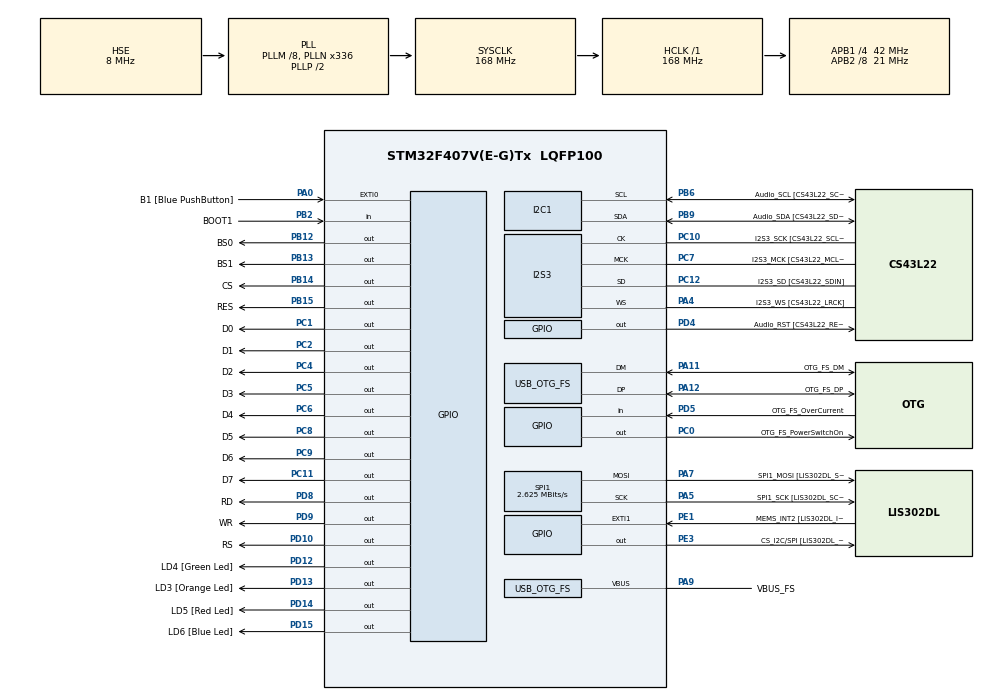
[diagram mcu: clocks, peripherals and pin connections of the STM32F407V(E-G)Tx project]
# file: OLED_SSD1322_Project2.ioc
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I2S3.AudioFreq-Half_Duplex_Master=I2S_AUDIOFREQ_96K
I2S3.ErrorAudioFreq=-2.34 %
I2S3.ErrorAudioFreq-Half_Duplex_Master=0.8 %
I2S3.FullDuplexMode=I2S_FULLDUPLEXMODE_DISABLE
I2S3.Instance=SPI$Index
I2S3.RealAudioFreq=93.75 KHz
I2S3.RealAudioFreq-Half_Duplex_Master=96.774 KHz
I2S3.VirtualMode=I2S_MODE_MASTER
Mcu.Family=STM32F4
Mcu.Name=STM32F407V(E-G)Tx
Mcu.Package=LQFP100
NVIC.OTG_FS_IRQn=true\:0\:0\:false\:false\:true\:true\:true\:true
NVIC.PriorityGroup=NVIC_PRIORITYGROUP_0
PA0-WKUP.GPIO_Label=B1 [Blue PushButton]
PA0-WKUP.GPIO_ModeDefaultEXTI=GPIO_MODE_EVT_RISING
PA0-WKUP.GPIO_PuPd=GPIO_NOPULL
PA0-WKUP.Signal=GPXTI0
PA10.GPIO_Label=OTG_FS_ID
PA10.GPIO_Mode=GPIO_MODE_AF_PP
PA10.GPIO_PuPd=GPIO_NOPULL
PA10.GPIO_Speed=GPIO_SPEED_FREQ_LOW
PA10.Signal=USB_OTG_FS_ID
PA11.GPIO_Label=OTG_FS_DM
PA11.GPIO_Mode=GPIO_MODE_AF_PP
PA11.GPIO_PuPd=GPIO_NOPULL
PA11.GPIO_Speed=GPIO_SPEED_FREQ_LOW
PA11.Mode=Host_Only
PA11.Signal=USB_OTG_FS_DM
PA12.GPIO_Label=OTG_FS_DP
PA12.GPIO_Mode=GPIO_MODE_AF_PP
PA12.GPIO_PuPd=GPIO_NOPULL
PA12.GPIO_Speed=GPIO_SPEED_FREQ_LOW
PA12.Mode=Host_Only
PA12.Signal=USB_OTG_FS_DP
PA13.GPIO_Label=SWDIO
PA13.Mode=Serial_Wire
PA13.Signal=SYS_JTMS-SWDIO
PA14.GPIO_Label=SWCLK
PA14.Mode=Serial_Wire
PA14.Signal=SYS_JTCK-SWCLK
PA4.GPIO_Label=I2S3_WS [CS43L22_LRCK]
PA4.GPIO_Mode=GPIO_MODE_AF_PP
PA4.GPIO_PuPd=GPIO_NOPULL
PA4.GPIO_Speed=GPIO_SPEED_FREQ_LOW
PA4.Mode=Half_Duplex_Master
PA4.Signal=I2S3_WS
PA5.GPIO_Label=SPI1_SCK [LIS302DL_SCL/SPC]
PA5.GPIO_Mode=GPIO_MODE_AF_PP
PA5.GPIO_PuPd=GPIO_NOPULL
PA5.GPIO_Speed=GPIO_SPEED_FREQ_LOW
PA5.Mode=TX_Only_Simplex_Unidirect_Master
PA5.Signal=SPI1_SCK
PA6.GPIO_Label=SPI1_MISO [LIS302DL_SDO]
PA6.GPIO_Mode=GPIO_MODE_AF_PP
PA6.GPIO_PuPd=GPIO_NOPULL
PA6.GPIO_Speed=GPIO_SPEED_FREQ_LOW
PA6.Signal=SPI1_MISO
PA7.GPIO_Label=SPI1_MOSI [LIS302DL_SDA/SDI/SDO]
PA7.GPIO_Mode=GPIO_MODE_AF_PP
PA7.GPIO_PuPd=GPIO_NOPULL
PA7.GPIO_Speed=GPIO_SPEED_FREQ_LOW
PA7.Mode=TX_Only_Simplex_Unidirect_Master
PA7.Signal=SPI1_MOSI
PA9.GPIO_Label=VBUS_FS
PA9.GPIO_Mode=GPIO_MODE_INPUT
PA9.GPIO_PuPd=GPIO_NOPULL
PA9.Mode=Activate_VBUS
PA9.Signal=USB_OTG_FS_VBUS
PB10.GPIO_Label=CLK_IN [MP45DT02_CLK]
PB10.GPIO_Mode=GPIO_MODE_AF_PP
PB10.GPIO_PuPd=GPIO_NOPULL
PB10.GPIO_Speed=GPIO_SPEED_FREQ_LOW
PB10.Signal=I2S2_CK
PB12.GPIO_Label=BS0
PB12.Signal=GPIO_Output
PB13.GPIO_Label=BS1
PB13.Signal=GPIO_Output
PB14.GPIO_Label=CS
PB14.PinState=GPIO_PIN_SET
PB14.Signal=GPIO_Output
PB15.GPIO_Label=RES
PB15.PinState=GPIO_PIN_SET
PB15.Signal=GPIO_Output
PB2.GPIO_Label=BOOT1
PB2.GPIO_Mode=GPIO_MODE_INPUT
PB2.GPIO_PuPd=GPIO_NOPULL
PB2.Signal=GPIO_Input
PB3.GPIO_Label=SWO
PB3.Signal=SYS_JTDO-SWO
PB6.GPIO_Label=Audio_SCL [CS43L22_SCL]
PB6.GPIO_Mode=GPIO_MODE_AF_OD
PB6.GPIO_Pu=GPIO_PULLUP
PB6.GPIO_PuPd=GPIO_NOPULL
PB6.GPIO_Speed=GPIO_SPEED_FREQ_LOW
PB6.Mode=I2C
PB6.Signal=I2C1_SCL
PB9.GPIO_Label=Audio_SDA [CS43L22_SDA]
PB9.GPIO_Mode=GPIO_MODE_AF_OD
PB9.GPIO_Pu=GPIO_PULLUP
PB9.GPIO_PuPd=GPIO_NOPULL
PB9.GPIO_Speed=GPIO_SPEED_FREQ_LOW
PB9.Mode=I2C
PB9.Signal=I2C1_SDA
PC0.GPIO_Label=OTG_FS_PowerSwitchOn
PC0.GPIO_PuPd=GPIO_NOPULL
PC0.GPIO_Speed=GPIO_SPEED_FREQ_LOW
PC0.PinState=GPIO_PIN_SET
PC0.Signal=GPIO_Output
PC1.GPIO_Label=D0
PC1.Signal=GPIO_Output
PC10.GPIO_Label=I2S3_SCK [CS43L22_SCLK]
PC10.GPIO_Mode=GPIO_MODE_AF_PP
PC10.GPIO_PuPd=GPIO_NOPULL
PC10.GPIO_Speed=GPIO_SPEED_FREQ_LOW
PC10.Mode=Half_Duplex_Master
PC10.Signal=I2S3_CK
PC11.GPIO_Label=D7
PC11.Signal=GPIO_Output
PC12.GPIO_Label=I2S3_SD [CS43L22_SDIN]
PC12.GPIO_Mode=GPIO_MODE_AF_PP
PC12.GPIO_PuPd=GPIO_NOPULL
PC12.GPIO_Speed=GPIO_SPEED_FREQ_LOW
PC12.Mode=Half_Duplex_Master
PC12.Signal=I2S3_SD
PC14-OSC32_IN.GPIO_Label=PC14-OSC32_IN
PC14-OSC32_IN.Mode=LSE-External-Oscillator
PC14-OSC32_IN.Signal=RCC_OSC32_IN
PC15-OSC32_OUT.GPIO_Label=PC15-OSC32_OUT
PC15-OSC32_OUT.Mode=LSE-External-Oscillator
PC15-OSC32_OUT.Signal=RCC_OSC32_OUT
PC2.GPIO_Label=D1
PC2.Signal=GPIO_Output
PC3.GPIO_Label=PDM_OUT [MP45DT02_DOUT]
PC3.GPIO_Mode=GPIO_MODE_AF_PP
PC3.GPIO_PuPd=GPIO_NOPULL
PC3.GPIO_Speed=GPIO_SPEED_FREQ_LOW
PC3.Signal=I2S2_SD
PC4.GPIO_Label=D2
PC4.Signal=GPIO_Output
PC5.GPIO_Label=D3
PC5.Signal=GPIO_Output
PC6.GPIO_Label=D4
PC6.Signal=GPIO_Output
PC7.GPIO_Label=I2S3_MCK [CS43L22_MCLK]
PC7.GPIO_Mode=GPIO_MODE_AF_PP
PC7.GPIO_PuPd=GPIO_NOPULL
PC7.GPIO_Speed=GPIO_SPEED_FREQ_LOW
PC7.Mode=Master_Clock_Activated
PC7.Signal=I2S3_MCK
PC8.GPIO_Label=D5
PC8.Signal=GPIO_Output
PC9.GPIO_Label=D6
PC9.Signal=GPIO_Output
PD10.GPIO_Label=RS
PD10.Signal=GPIO_Output
PD12.GPIO_Label=LD4 [Green Led]
PD12.GPIO_PuPd=GPIO_NOPULL
PD12.GPIO_Speed=GPIO_SPEED_FREQ_LOW
PD12.Signal=GPIO_Output
PD13.GPIO_Label=LD3 [Orange Led]
PD13.GPIO_PuPd=GPIO_NOPULL
PD13.GPIO_Speed=GPIO_SPEED_FREQ_LOW
PD13.Signal=GPIO_Output
PD14.GPIO_Label=LD5 [Red Led]
PD14.GPIO_PuPd=GPIO_NOPULL
PD14.GPIO_Speed=GPIO_SPEED_FREQ_LOW
PD14.Signal=GPIO_Output
PD15.GPIO_Label=LD6 [Blue Led]
PD15.GPIO_PuPd=GPIO_NOPULL
PD15.GPIO_Speed=GPIO_SPEED_FREQ_LOW
PD15.Signal=GPIO_Output
PD4.GPIO_Label=Audio_RST [CS43L22_RESET]
PD4.GPIO_PuPd=GPIO_NOPULL
PD4.GPIO_Speed=GPIO_SPEED_FREQ_LOW
PD4.Signal=GPIO_Output
PD5.GPIO_Label=OTG_FS_OverCurrent
PD5.GPIO_Mode=GPIO_MODE_INPUT
PD5.GPIO_PuPd=GPIO_NOPULL
PD5.Signal=GPIO_Input
PD8.GPIO_Label=RD
PD8.PinState=GPIO_PIN_SET
PD8.Signal=GPIO_Output
PD9.GPIO_Label=WR
PD9.Signal=GPIO_Output
PE1.GPIO_Label=MEMS_INT2 [LIS302DL_INT2]
PE1.GPIO_ModeDefaultEXTI=GPIO_MODE_EVT_RISING
PE1.GPIO_PuPd=GPIO_NOPULL
PE1.Signal=GPXTI1
PE3.GPIO_Label=CS_I2C/SPI [LIS302DL_CS_I2C/SPI]
PE3.GPIO_PuPd=GPIO_NOPULL
PE3.GPIO_Speed=GPIO_SPEED_FREQ_LOW
PE3.Signal=GPIO_Output
PH0-OSC_IN.GPIO_Label=PH0-OSC_IN
PH0-OSC_IN.Mode=HSE-External-Oscillator
PH0-OSC_IN.Signal=RCC_OSC_IN
PH1-OSC_OUT.GPIO_Label=PH1-OSC_OUT
PH1-OSC_OUT.Mode=HSE-External-Oscillator
PH1-OSC_OUT.Signal=RCC_OSC_OUT
ProjectManager.HeapSize=0x200
ProjectManager.StackSize=0x400
ProjectManager.TargetToolchain=STM32CubeIDE
RCC.48MHZClocksFreq_Value=48000000
RCC.AHBFreq_Value=168000000
RCC.APB1CLKDivider=RCC_HCLK_DIV4
RCC.APB1Freq_Value=42000000
RCC.APB1TimFreq_Value=84000000
RCC.APB2CLKDivider=RCC_HCLK_DIV8
RCC.APB2Freq_Value=21000000
RCC.APB2TimFreq_Value=42000000
RCC.CortexFreq_Value=168000000
RCC.HCLKFreq_Value=168000000
RCC.HSE_VALUE=8000000
RCC.HSI_VALUE=16000000
RCC.PLLM=8
RCC.PLLN=336
RCC.PLLQ=7
RCC.SYSCLKFreq_VALUE=168000000
RCC.SYSCLKSource=RCC_SYSCLKSOURCE_PLLCLK
RCC.VCOOutputFreq_Value=336000000
SPI1.BaudRatePrescaler=SPI_BAUDRATEPRESCALER_8
SPI1.CalculateBaudRate=2.625 MBits/s
SPI1.Direction=SPI_DIRECTION_2LINES
SPI1.Mode=SPI_MODE_MASTER
SPI1.VirtualType=VM_MASTER
USB_HOST.BSP.number=1
USB_HOST.USBH_HandleTypeDef-CDC_FS=hUsbHostFS
USB_HOST.VirtualModeFS=Cdc
USB_HOST0.BSP.STBoard=false
USB_HOST0.BSP.api=Unknown
USB_HOST0.BSP.instance=PC0
USB_HOST0.BSP.ip=GPIO
USB_HOST0.BSP.mode=Output
USB_HOST0.BSP.name=Drive_VBUS_FS
USB_HOST0.BSP.solution=PC0
USB_OTG_FS.VirtualMode=Host_Only
USB_OTG_FS.phy_itface=HCD_PHY_EMBEDDED
VP_USB_HOST_VS_USB_HOST_CDC_FS.Mode=CDC_FS
board=STM32F407G-DISC1

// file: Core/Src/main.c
/* USER CODE BEGIN Header */
/**
  ******************************************************************************
  * @file           : main.c
  * @brief          : Main program body
  ******************************************************************************
  * @attention
  *
  * Copyright (c) 2024 STMicroelectronics.
  * All rights reserved.
  *
  * This software is licensed under terms that can be found in the LICENSE file
  * in the root directory of this software component.
  * If no LICENSE file comes with this software, it is provided AS-IS.
  *
  ******************************************************************************
  */
/* USER CODE END Header */
#include "main.h"
#include "usb_host.h"

/* USER CODE BEGIN Includes */
#include <stdio.h>
#include <string.h>
#include "SSD1322_OLED.h"
/* USER CODE END Includes */

I2C_HandleTypeDef hi2c1;

I2S_HandleTypeDef hi2s3;

SPI_HandleTypeDef hspi1;

void SystemClock_Config(void);
static void MX_GPIO_Init(void);
static void MX_I2C1_Init(void);
static void MX_I2S3_Init(void);
static void MX_SPI1_Init(void);
void MX_USB_HOST_Process(void);

/* USER CODE BEGIN 0 */

unsigned char NHD_Logo [] = {

 0x00, 0x00, 0x00, 0x00, 0x00, 0x00, 0x00, 0x00, 0x00, 0x00, 0x00, 0x00, 0x00, 0x00, 0x00, 0x00, 0x00, 0x00, 0x00,

 0x00, 0x00, 0x00, 0x00, 0x00, 0x00, 0x00, 0x00, 0x00, 0x00, 0x00, 0x00, 0x00, 0x00, 0x00, 0x00, 0x00, 0x00, 0x00,

 0x00, 0x00, 0x00, 0x00, 0x00, 0x00, 0x00, 0x00, 0x00, 0x00, 0x00, 0x00, 0x00, 0x00, 0x00, 0x00, 0x00, 0x00, 0x00,

 0x00, 0x00, 0x00, 0x00, 0x00, 0x00, 0x00, 0x00, 0x00, 0x00, 0x00, 0x00, 0x00, 0x00, 0x00, 0x00, 0x00, 0x00, 0x00,

 0x00, 0x00, 0x00, 0x00, 0x00, 0x00, 0x00, 0x00, 0x00, 0x00, 0x00, 0x00, 0x00, 0x00, 0x00, 0x00, 0x00, 0x00, 0x00,

 0x00, 0x00, 0x00, 0x00, 0x00, 0x00, 0x00, 0x00, 0x00, 0x00, 0x00, 0x00, 0x00, 0x00, 0x00, 0x00, 0x00, 0x00, 0x00,

 0x00, 0x00, 0x00, 0x00, 0x00, 0x00, 0x00, 0x00, 0x00, 0x00, 0x00, 0x00, 0x00, 0x00, 0x00, 0x00, 0x00, 0x00, 0x00,

 0x00, 0x00, 0x00, 0x00, 0x00, 0x00, 0x00, 0x00, 0x00, 0x00, 0x00, 0x00, 0x00, 0x00, 0x00, 0x00, 0x00, 0x00, 0x00,

 0x00, 0x00, 0x00, 0x00, 0x00, 0x00, 0x00, 0x00, 0x00, 0x00, 0x00, 0x00, 0x00, 0x00, 0x00, 0x00, 0x00, 0x00, 0x00,

 0x00, 0x00, 0x00, 0x00, 0x00, 0x00, 0x00, 0x00, 0x00, 0x00, 0x00, 0x00, 0x00, 0x00, 0x00, 0x00, 0x00, 0x00, 0x00,

 0x00, 0x00, 0x00, 0x00, 0x00, 0x00, 0x00, 0x00, 0x00, 0x00, 0x00, 0x00, 0x00, 0x00, 0x00, 0x00, 0x00, 0x00, 0x00,

 0x00, 0x00, 0x00, 0x00, 0x00, 0x00, 0x00, 0x00, 0x00, 0x00, 0x00, 0x00, 0x00, 0x00, 0x00, 0x00, 0x00, 0x00, 0x00,

 0x00, 0x00, 0x00, 0x00, 0x00, 0x00, 0x00, 0x00, 0x00, 0x00, 0x00, 0x00, 0x00, 0x00, 0x00, 0x00, 0x00, 0x00, 0x00,

 0x00, 0x00, 0x00, 0x00, 0x00, 0x00, 0x00, 0x00, 0x00, 0x00, 0x00, 0x00, 0x00, 0x00, 0x00, 0x00, 0x00, 0x00, 0x00,

 0x00, 0x00, 0x00, 0x00, 0x00, 0x00, 0x00, 0x00, 0x00, 0x00, 0x00, 0x00, 0x00, 0x00, 0x00, 0x00, 0x00, 0x00, 0x00,

 0x00, 0x00, 0x00, 0x00, 0x00, 0x7C, 0x00, 0x00, 0x00, 0x00, 0x00, 0x00, 0x00, 0x00, 0x00, 0x00, 0x00, 0x00, 0x00,

 0x00, 0x00, 0xFF, 0xFF, 0xD9, 0x83, 0xC6, 0x31, 0x98, 0xC1, 0x82, 0x0C, 0x3C, 0x63, 0x00, 0x00, 0x00, 0x00, 0xFF,

 0xFF, 0xD9, 0x87, 0xC6, 0x33, 0x98, 0xC1, 0x83, 0x0C, 0x7C, 0x73, 0x00, 0x00, 0x00, 0x00, 0xFC, 0x00, 0x1D, 0x86,

 0x03, 0x33, 0x18, 0xC3, 0xC3, 0x18, 0xC0, 0x7B, 0x00, 0x00, 0x00, 0x00, 0x7C, 0x7F, 0xDD, 0x8E, 0xE3, 0x7B, 0x1F,

 0xC3, 0x61, 0xB8, 0xFC, 0x7B, 0x00, 0x00, 0x00, 0x00, 0x00, 0xFF, 0xDF, 0x8F, 0xC1, 0xDF, 0x1F, 0xC6, 0x61, 0xB1,

 0xFC, 0x6F, 0x00, 0x00, 0x00, 0x3C, 0x01, 0xC0, 0x1B, 0x84, 0x01, 0xCE, 0x18, 0xC7, 0xE0, 0xF0, 0xC0, 0x67, 0x00,

 0x00, 0x00, 0x7E, 0x07, 0x9F, 0xDB, 0x87, 0xE1, 0xCE, 0x18, 0xCE, 0x70, 0xE0, 0x7C, 0x67, 0x00, 0x00, 0x00, 0x7F,

 0xFE, 0x3F, 0xD9, 0x83, 0xE0, 0xCC, 0x18, 0xCC, 0x38, 0x60, 0x3C, 0x63, 0x00, 0x00, 0x00, 0xFF, 0xFC, 0xE0, 0x00,

 0x00, 0x00, 0x00, 0x00, 0x00, 0x00, 0x00, 0x00, 0x00, 0x00, 0x00, 0x00, 0x7E, 0x01, 0xC0, 0x00, 0x00, 0x00, 0x00,

 0x00, 0x00, 0x00, 0x00, 0x00, 0x00, 0x00, 0x00, 0x0E, 0x3C, 0x01, 0x80, 0x00, 0x00, 0x00, 0x00, 0x00, 0x00, 0x00,

 0x00, 0x00, 0x00, 0x00, 0x00, 0x1F, 0x00, 0x07, 0x80, 0x00, 0x00, 0x00, 0x00, 0x00, 0x00, 0x00, 0x00, 0x00, 0x00,

 0x00, 0x00, 0x1F, 0x80, 0x0E, 0x00, 0x3F, 0x0C, 0x3F, 0x8F, 0xC3, 0x00, 0xC3, 0x18, 0x00, 0x00, 0x00, 0x00, 0x3F,

 0xFF, 0xFC, 0x00, 0x3F, 0x8C, 0x3F, 0x8C, 0xE3, 0x01, 0xC3, 0x98, 0x00, 0x00, 0x00, 0x00, 0x1F, 0xFF, 0xF8, 0x00,

 0x31, 0xCC, 0x30, 0x0C, 0x63, 0x01, 0x60, 0xF0, 0x00, 0x00, 0x00, 0x00, 0x1F, 0x80, 0x00, 0x00, 0x30, 0xCC, 0x3F,

 0x0E, 0xC3, 0x03, 0x20, 0xE0, 0x00, 0x00, 0x00, 0x00, 0x07, 0x00, 0x00, 0x00, 0x30, 0xCC, 0x03, 0x8F, 0xC3, 0x03,

 0xF0, 0x60, 0x00, 0x00, 0x00, 0x00, 0x00, 0x00, 0x00, 0x00, 0x3F, 0x8C, 0x3F, 0x8C, 0x03, 0x07, 0xF0, 0x60, 0x00,

 0x00, 0x00, 0x00, 0x00, 0x00, 0x00, 0x00, 0x3F, 0x8C, 0x3F, 0x0C, 0x03, 0xE6, 0x18, 0x60, 0x00, 0x00, 0x00, 0x00,

 0x00, 0x00, 0x00, 0x00, 0x00, 0x00, 0x00, 0x00, 0x00, 0x00, 0x00, 0x00, 0x00, 0x00, 0x00, 0x00, 0x00, 0x00, 0x00,

 0x00, 0x00, 0x00, 0x00, 0x00, 0x00, 0x00, 0x00, 0x00, 0x00, 0x00, 0x00, 0x00, 0x00, 0x00, 0x00, 0x00, 0x00, 0x00,

 0x00, 0x00, 0x00, 0x00, 0x00, 0x00, 0x00, 0x00, 0x00, 0x00, 0x00, 0x01, 0x83, 0x41, 0xE0, 0x70, 0x78, 0x24, 0x0C,

 0x0F, 0x06, 0x0F, 0x06, 0x81, 0x80, 0x80, 0x00, 0x01, 0x83, 0xC0, 0xC0, 0xE0, 0x58, 0x34, 0x0C, 0x06, 0x06, 0x09,

 0x07, 0x81, 0x80, 0x80, 0x00, 0x01, 0x82, 0xC0, 0xC0, 0xC0, 0x70, 0x3C, 0x1E, 0x06, 0x06, 0x09, 0x05, 0x83, 0xC0,

 0x80, 0x00, 0x01, 0x82, 0x40, 0xC0, 0x70, 0x58, 0x2C, 0x12, 0x06, 0x06, 0x0F, 0x04, 0x82, 0x40, 0xE0, 0x00, 0x00,

 0x00, 0x00, 0x00, 0x00, 0x00, 0x00, 0x00, 0x00, 0x00, 0x00, 0x00, 0x00, 0x00, 0x00, 0x00, 0x00, 0x00, 0x00, 0x00,

 0x00, 0x00, 0x00, 0x00, 0x00, 0x00, 0x00, 0x00, 0x00, 0x00, 0x00, 0x00, 0x00, 0x00, 0x00, 0x00, 0x00, 0x00, 0x00,

 0x00, 0x00, 0x00, 0x00, 0x00, 0x00, 0x00, 0x00, 0x00, 0x00, 0x00, 0x00, 0x00, 0x00, 0x00, 0x00, 0x00, 0x00, 0x00,

 0x00, 0x00, 0x00, 0x00, 0x00, 0x00, 0x00, 0x00, 0x00, 0x00, 0x00, 0x00, 0x00, 0x00, 0x00, 0x00, 0x00, 0x00, 0x00,

 0x00, 0x00, 0x00, 0x00, 0x00, 0x00, 0x00, 0x00, 0x00, 0x00, 0x00, 0x00, 0x00, 0x00, 0x00, 0x00, 0x00, 0x00, 0x00,

 0x00, 0x00, 0x00, 0x00, 0x00, 0x00, 0x00, 0x00, 0x00, 0x00, 0x00, 0x00, 0x00, 0x00, 0x00, 0x00, 0x00, 0x00, 0x00,

 0x00, 0x00, 0x00, 0x00, 0x00, 0x00, 0x00, 0x00, 0x00, 0x00, 0x00, 0x00, 0x00, 0x00, 0x00, 0x00, 0x00, 0x00, 0x00,

 0x00, 0x00, 0x00, 0x00, 0x00, 0x00, 0x00, 0x00, 0x00, 0x00, 0x00, 0x00, 0x00, 0x00, 0x00, 0x00, 0x00, 0x00, 0x00,

 0x00, 0x00, 0x00, 0x00, 0x00, 0x00, 0x00, 0x00, 0x00, 0x00, 0x00, 0x00, 0x00, 0x00, 0x00, 0x00, 0x00, 0x00, 0x00,

 0x00, 0x00, 0x00, 0x00, 0x00, 0x00, 0x00, 0x00, 0x00, 0x00, 0x00, 0x00, 0x00, 0x00, 0x00, 0x00, 0x00, 0x00, 0x00,

 0x00, 0x00, 0x00, 0x00, 0x00, 0x00, 0x00, 0x00, 0x00, 0x00, 0x00, 0x00, 0x00, 0x00, 0x00, 0x00, 0x00, 0x00, 0x00,

 0x00, 0x00, 0x00, 0x00, 0x00, 0x00, 0x00, 0x00, 0x00, 0x00, 0x00, 0x00, 0x00, 0x00, 0x00, 0x00, 0x00, 0x00, 0x00,

 0x00, 0x00, 0x00, 0x00, 0x00, 0x00, 0x00, 0x00, 0x00, 0x00, 0x00, 0x00, 0x00, 0x00, 0x00, 0x00, 0x00, 0x00, 0x00,

 0x00, 0x00, 0x00, 0x00, 0x00, 0x00, 0x00, 0x00, 0x00, 0x00, 0x00, 0x00, 0x00, 0x00, 0x00, 0x00, 0x00, 0x00, 0x00,

 0x00, 0x00, 0x00, 0x00, 0x00, 0x00, 0x00, 0x00, 0x00, 0x00, 0x00, 0x00, 0x00, 0x00, 0x00, 0x00, 0x00, 0x00, 0x00,

 0x00, 0x00, 0x00, 0x00, 0x00, 0x00, 0x00, 0x00, 0x00, 0x00, 0x00, 0x00, 0x00, 0x00, 0x00, 0x00, 0x00
// 		0xFF, 0xFF, 0xFF, 0xFF, 	0xFF, 0xFF, 0xFF, 0x00,		0x00, 0xFF, 0xFF, 0xFF, 	0xFF, 0xFF, 0xFF, 0xFF,
// 		0xFF, 0xFF, 0xFF, 0xFF, 	0xFF, 0xFF, 0xFF, 0x00,		0x00, 0xFF, 0xFF, 0xFF, 	0xFF, 0xFF, 0xFF, 0xFF,
// 		0xFF, 0xFF, 0xFF, 0xFF, 	0xFF, 0xFF, 0xFF, 0x00,		0x00, 0xFF, 0xFF, 0xFF, 	0xFF, 0xFF, 0xFF, 0xFF,
// 		0xFF, 0xFF, 0xFF, 0xFF, 	0xFF, 0xFF, 0xFF, 0x00,		0x00, 0xFF, 0xFF, 0xFF, 	0xFF, 0xFF, 0xFF, 0xFF,
// 		0xFF, 0xFF, 0xFF, 0xFF, 	0xFF, 0xFF, 0xFF, 0x00,		0x00, 0xFF, 0xFF, 0xFF, 	0xFF, 0xFF, 0xFF, 0xFF,
// 		0xFF, 0xFF, 0xFF, 0xFF, 	0xFF, 0xFF, 0xFF, 0x00,		0x00, 0xFF, 0xFF, 0xFF, 	0xFF, 0xFF, 0xFF, 0xFF,
// 		0xFF, 0xFF, 0xFF, 0xFF, 	0xFF, 0xFF, 0xFF, 0x00,		0x00, 0xFF, 0xFF, 0xFF, 	0xFF, 0xFF, 0xFF, 0xFF,
// 		0xFF, 0xFF, 0xFF, 0xFF, 	0xFF, 0xFF, 0xFF, 0x00,		0x00, 0xFF, 0xFF, 0xFF, 	0xFF, 0xFF, 0xFF, 0xFF,

// 		0xFF, 0x00, 0x00, 0x00, 	0x00, 0x00, 0x00, 0x00, 	0x00, 0x00, 0x00, 0x00, 	0x00, 0x00, 0x00, 0x00,
// 		0xFF, 0x00, 0x00, 0x00, 	0x00, 0x00, 0x00, 0x00, 	0x00, 0x00, 0x00, 0x00, 	0x00, 0x00, 0x00, 0x00,
// 		0xFF, 0x00, 0x00, 0x00, 	0x00, 0x00, 0x00, 0x00, 	0x00, 0x00, 0x00, 0x00, 	0x00, 0x00, 0x00, 0x00,
// 		0xFF, 0x00, 0x00, 0x00, 	0x00, 0x00, 0x00, 0x00, 	0x00, 0x00, 0x00, 0x00, 	0x00, 0x00, 0x00, 0x00,
// 		0xFF, 0x00, 0x00, 0x00, 	0x00, 0x00, 0x00, 0x00, 	0x00, 0x00, 0x00, 0x00, 	0x00, 0x00, 0x00, 0x00,
// 		0xFF, 0x00, 0x00, 0x00, 	0x00, 0x00, 0x00, 0x00, 	0x00, 0x00, 0x00, 0x00, 	0x00, 0x00, 0x00, 0x00,
// 		0xFF, 0x00, 0x00, 0x00, 	0x00, 0x00, 0x00, 0x00, 	0x00, 0x00, 0x00, 0x00, 	0x00, 0x00, 0x00, 0x00,
// 		0xFF, 0x00, 0x00, 0x00, 	0x00, 0x00, 0x00, 0x00, 	0x00, 0x00, 0x00, 0x00, 	0x00, 0x00, 0x00, 0x00,

// 		0xFF, 0x00, 0x00, 0x00, 	0x00, 0x00, 0x00, 0x00, 	0x00, 0x00, 0x00, 0x00, 	0x00, 0x00, 0x00, 0x00,
// 		0xFF, 0x00, 0x00, 0x00, 	0x00, 0x00, 0x00, 0x00, 	0x00, 0x00, 0x00, 0x00, 	0x00, 0x00, 0x00, 0x00,
// 		0xFF, 0x00, 0x00, 0x00, 	0x00, 0x00, 0x00, 0x00, 	0x00, 0x00, 0x00, 0x00, 	0x00, 0x00, 0x00, 0x00,
// 		0xFF, 0x00, 0x00, 0x00, 	0x00, 0x00, 0x00, 0x00, 	0x00, 0x00, 0x00, 0x00, 	0x00, 0x00, 0x00, 0x00,
// 		0xFF, 0x00, 0x00, 0x00, 	0x00, 0x00, 0x00, 0x00, 	0x00, 0x00, 0x00, 0x00, 	0x00, 0x00, 0x00, 0x00,
// 		0xFF, 0x00, 0x00, 0x00, 	0x00, 0x00, 0x00, 0x00, 	0x00, 0x00, 0x00, 0x00, 	0x00, 0x00, 0x00, 0x00,
// 		0xFF, 0x00, 0x00, 0x00, 	0x00, 0x00, 0x00, 0x00, 	0x00, 0x00, 0x00, 0x00, 	0x00, 0x00, 0x00, 0x00,
// 		0xFF, 0x00, 0x00, 0x00, 	0x00, 0x00, 0x00, 0x00, 	0x00, 0x00, 0x00, 0x00, 	0x00, 0x00, 0x00, 0x00,

// 		0xFF, 0x00, 0x00, 0x00, 	0x00, 0x00, 0x00, 0x00, 	0x00, 0x00, 0x00, 0x00, 	0x00, 0x00, 0x00, 0x00,
// 		0xFF, 0x00, 0x00, 0x00, 	0x00, 0x00, 0x00, 0x00, 	0x00, 0x00, 0x00, 0x00, 	0x00, 0x00, 0x00, 0x00,
// 		0xFF, 0x00, 0x00, 0x00, 	0x00, 0x00, 0x00, 0x00, 	0x00, 0x00, 0x00, 0x00, 	0x00, 0x00, 0x00, 0x00,
// 		0xFF, 0x00, 0x00, 0x00, 	0x00, 0x00, 0x00, 0x00, 	0x00, 0x00, 0x00, 0x00, 	0x00, 0x00, 0x00, 0x00,
// 		0xFF, 0x00, 0x00, 0x00, 	0x00, 0x00, 0x00, 0x00, 	0x00, 0x00, 0x00, 0x00, 	0x00, 0x00, 0x00, 0x00,
// 		0xFF, 0x00, 0x00, 0x00, 	0x00, 0x00, 0x00, 0x00, 	0x00, 0x00, 0x00, 0x00, 	0x00, 0x00, 0x00, 0x00,
// 		0xFF, 0x00, 0x00, 0x00, 	0x00, 0x00, 0x00, 0x00, 	0x00, 0x00, 0x00, 0x00, 	0x00, 0x00, 0x00, 0x00,
// 		0xFF, 0x00, 0x00, 0x00, 	0x00, 0x00, 0x00, 0x00, 	0x00, 0x00, 0x00, 0x00, 	0x00, 0x00, 0x00, 0x00,

// //----------------------------------------------------------------------------------------------------------------------------

// 		0xFF, 0x00, 0x00, 0x00, 	0x00, 0x00, 0x00, 0x00, 	0x00, 0x00, 0x00, 0x00, 	0x00, 0x00, 0x00, 0x00,
// 		0xFF, 0x00, 0x00, 0x00, 	0x00, 0x00, 0x00, 0x00, 	0x00, 0x00, 0x00, 0x00, 	0x00, 0x00, 0x00, 0x00,
// 		0xFF, 0x00, 0x00, 0x00, 	0x00, 0x00, 0x00, 0x00, 	0x00, 0x00, 0x00, 0x00, 	0x00, 0x00, 0x00, 0x00,
// 		0xFF, 0x00, 0x00, 0x00, 	0x00, 0x00, 0x00, 0x00, 	0x00, 0x00, 0x00, 0x00, 	0x00, 0x00, 0x00, 0x00,
// 		0xFF, 0x00, 0x00, 0x00, 	0x00, 0x00, 0x00, 0x00, 	0x00, 0x00, 0x00, 0x00, 	0x00, 0x00, 0x00, 0x00,
// 		0xFF, 0x00, 0x00, 0x00, 	0x00, 0x00, 0x00, 0x00, 	0x00, 0x00, 0x00, 0x00, 	0x00, 0x00, 0x00, 0x00,
// 		0xFF, 0x00, 0x00, 0x00, 	0x00, 0x00, 0x00, 0x00, 	0x00, 0x00, 0x00, 0x00, 	0x00, 0x00, 0x00, 0x00,
// 		0xFF, 0x00, 0x00, 0x00, 	0x00, 0x00, 0x00, 0x00, 	0x00, 0x00, 0x00, 0x00, 	0x00, 0x00, 0x00, 0x00,

// 		0xFF, 0x00, 0x00, 0x00, 	0x00, 0x00, 0x00, 0x00, 	0x00, 0x00, 0x00, 0x00, 	0x00, 0x00, 0x00, 0x00,
// 		0xFF, 0x00, 0x00, 0x00, 	0x00, 0x00, 0x00, 0x00, 	0x00, 0x00, 0x00, 0x00, 	0x00, 0x00, 0x00, 0x00,
// 		0xFF, 0x00, 0x00, 0x00, 	0x00, 0x00, 0x00, 0x00, 	0x00, 0x00, 0x00, 0x00, 	0x00, 0x00, 0x00, 0x00,
// 		0xFF, 0x00, 0x00, 0x00, 	0x00, 0x00, 0x00, 0x00, 	0x00, 0x00, 0x00, 0x00, 	0x00, 0x00, 0x00, 0x00,
// 		0xFF, 0x00, 0x00, 0x00, 	0x00, 0x00, 0x00, 0x00, 	0x00, 0x00, 0x00, 0x00, 	0x00, 0x00, 0x00, 0x00,
// 		0xFF, 0x00, 0x00, 0x00, 	0x00, 0x00, 0x00, 0x00, 	0x00, 0x00, 0x00, 0x00, 	0x00, 0x00, 0x00, 0x00,
// 		0xFF, 0x00, 0x00, 0x00, 	0x00, 0x00, 0x00, 0x00, 	0x00, 0x00, 0x00, 0x00, 	0x00, 0x00, 0x00, 0x00,
// 		0xFF, 0x00, 0x00, 0x00, 	0x00, 0x00, 0x00, 0x00, 	0x00, 0x00, 0x00, 0x00, 	0x00, 0x00, 0x00, 0x00,

// 		0xFF, 0x00, 0x00, 0x00, 	0x00, 0x00, 0x00, 0x00, 	0x00, 0x00, 0x00, 0x00, 	0x00, 0x00, 0x00, 0x00,
// 		0xFF, 0x00, 0x00, 0x00, 	0x00, 0x00, 0x00, 0x00, 	0x00, 0x00, 0x00, 0x00, 	0x00, 0x00, 0x00, 0x00,
// 		0xFF, 0x00, 0x00, 0x00, 	0x00, 0x00, 0x00, 0x00, 	0x00, 0x00, 0x00, 0x00, 	0x00, 0x00, 0x00, 0x00,
// 		0xFF, 0x00, 0x00, 0x00, 	0x00, 0x00, 0x00, 0x00, 	0x00, 0x00, 0x00, 0x00, 	0x00, 0x00, 0x00, 0x00,
// 		0xFF, 0x00, 0x00, 0x00, 	0x00, 0x00, 0x00, 0x00, 	0x00, 0x00, 0x00, 0x00, 	0x00, 0x00, 0x00, 0x00,
// 		0xFF, 0x00, 0x00, 0x00, 	0x00, 0x00, 0x00, 0x00, 	0x00, 0x00, 0x00, 0x00, 	0x00, 0x00, 0x00, 0x00,
// 		0xFF, 0x00, 0x00, 0x00, 	0x00, 0x00, 0x00, 0x00, 	0x00, 0x00, 0x00, 0x00, 	0x00, 0x00, 0x00, 0x00,
// 		0xFF, 0x00, 0x00, 0x00, 	0x00, 0x00, 0x00, 0x00, 	0x00, 0x00, 0x00, 0x00, 	0x00, 0x00, 0x00, 0x00,

// 		0xFF, 0x00, 0x00, 0x00, 	0x00, 0x00, 0x00, 0x00, 	0x00, 0x00, 0x00, 0x00, 	0x00, 0x00, 0x00, 0x00,
// 		0xFF, 0x00, 0x00, 0x00, 	0x00, 0x00, 0x00, 0x00, 	0x00, 0x00, 0x00, 0x00, 	0x00, 0x00, 0x00, 0x00,
// 		0xFF, 0x00, 0x00, 0x00, 	0x00, 0x00, 0x00, 0x00, 	0x00, 0x00, 0x00, 0x00, 	0x00, 0x00, 0x00, 0x00,
// 		0xFF, 0x00, 0x00, 0x00, 	0x00, 0x00, 0x00, 0x00, 	0x00, 0x00, 0x00, 0x00, 	0x00, 0x00, 0x00, 0x00,
// 		0xFF, 0x00, 0x00, 0x00, 	0x00, 0x00, 0x00, 0x00, 	0x00, 0x00, 0x00, 0x00, 	0x00, 0x00, 0x00, 0x00,
// 		0xFF, 0x00, 0x00, 0x00, 	0x00, 0x00, 0x00, 0x00, 	0x00, 0x00, 0x00, 0x00, 	0x00, 0x00, 0x00, 0x00,
// 		0xFF, 0x00, 0x00, 0x00, 	0x00, 0x00, 0x00, 0x00, 	0x00, 0x00, 0x00, 0x00, 	0x00, 0x00, 0x00, 0x00,
// 		0xFF, 0x00, 0x00, 0x00, 	0x00, 0x00, 0x00, 0x00, 	0x00, 0x00, 0x00, 0x00, 	0x00, 0x00, 0x00, 0x00,

};

uint8_t count = 0;
char ch_Count[8];
void counter( )
{

	if(HAL_GPIO_ReadPin(GPIOA, B1_Pin)==1)
	{
		HAL_GPIO_WritePin(GPIOD, LD5_Pin, GPIO_PIN_SET);			//SET LED5
		memset(ch_Count, 0, sizeof(ch_Count));
		sprintf(ch_Count, "%d", count);
//		OLED_Text_12864RGB(28, 20, count, WHITE, BLACK);
		printString(ch_Count, 28, 20);
		HAL_Delay(200);
		HAL_GPIO_WritePin(GPIOD, LD5_Pin, GPIO_PIN_RESET);
		count++;

	}

}

void loop()                                        // main loop, runs after "setup()"
{
   OLED_Init_12864RGB();                           // initialize display

   OLED_FillScreen_12864RGB(BLACK);                // fill screen with black

//
//   OLED_Text_12864RGB(28, 0, 35, WHITE, BLACK);   // C
//   OLED_Text_12864RGB(36, 0, 47, WHITE, BLACK);   // O
//   OLED_Text_12864RGB(44, 0, 53, WHITE, BLACK);   // U
//   OLED_Text_12864RGB(52, 0, 46, WHITE, BLACK);   // N
//   OLED_Text_12864RGB(60, 0, 52, WHITE, BLACK);   // T
//   OLED_Text_12864RGB(68, 0, 0, WHITE, BLACK);    //

   printString("FORBES", 28, 20);
  printString("MARSHALL", 28, 30);

  // ImageDisplay_12864(NHD_Logo);

   while(1)
	   {
	   	   //counter();
	   }
}

//###############################################################################################################################

/* USER CODE END 0 */

int main(void)
{

  /* MCU Configuration--------------------------------------------------------*/

  /* Reset of all peripherals, Initializes the Flash interface and the Systick. */
  HAL_Init();

  /* Configure the system clock */
  SystemClock_Config();

  /* Initialize all configured peripherals */
  MX_GPIO_Init();
  MX_I2C1_Init();
  MX_I2S3_Init();
  MX_SPI1_Init();
  MX_USB_HOST_Init();

  /* Infinite loop */
  /* USER CODE BEGIN WHILE */
  setup();
  while (1)
  {
    /* USER CODE END WHILE */
    MX_USB_HOST_Process();

    /* USER CODE BEGIN 3 */
    loop();

  }
  /* USER CODE END 3 */
}

void SystemClock_Config(void)
{
  RCC_OscInitTypeDef RCC_OscInitStruct = {0};
  RCC_ClkInitTypeDef RCC_ClkInitStruct = {0};

  /** Configure the main internal regulator output voltage
  */
  __HAL_RCC_PWR_CLK_ENABLE();
  __HAL_PWR_VOLTAGESCALING_CONFIG(PWR_REGULATOR_VOLTAGE_SCALE1);

  /** Initializes the RCC Oscillators according to the specified parameters
  * in the RCC_OscInitTypeDef structure.
  */
  RCC_OscInitStruct.OscillatorType = RCC_OSCILLATORTYPE_HSE;
  RCC_OscInitStruct.HSEState = RCC_HSE_ON;
  RCC_OscInitStruct.PLL.PLLState = RCC_PLL_ON;
  RCC_OscInitStruct.PLL.PLLSource = RCC_PLLSOURCE_HSE;
  RCC_OscInitStruct.PLL.PLLM = 8;
  RCC_OscInitStruct.PLL.PLLN = 336;
  RCC_OscInitStruct.PLL.PLLP = RCC_PLLP_DIV2;
  RCC_OscInitStruct.PLL.PLLQ = 7;
  if (HAL_RCC_OscConfig(&RCC_OscInitStruct) != HAL_OK)
  {
    Error_Handler();
  }

  /** Initializes the CPU, AHB and APB buses clocks
  */
  RCC_ClkInitStruct.ClockType = RCC_CLOCKTYPE_HCLK|RCC_CLOCKTYPE_SYSCLK
                              |RCC_CLOCKTYPE_PCLK1|RCC_CLOCKTYPE_PCLK2;
  RCC_ClkInitStruct.SYSCLKSource = RCC_SYSCLKSOURCE_PLLCLK;
  RCC_ClkInitStruct.AHBCLKDivider = RCC_SYSCLK_DIV1;
  RCC_ClkInitStruct.APB1CLKDivider = RCC_HCLK_DIV4;
  RCC_ClkInitStruct.APB2CLKDivider = RCC_HCLK_DIV8;

  if (HAL_RCC_ClockConfig(&RCC_ClkInitStruct, FLASH_LATENCY_5) != HAL_OK)
  {
    Error_Handler();
  }
}

static void MX_I2C1_Init(void)
{

  hi2c1.Instance = I2C1;
  hi2c1.Init.ClockSpeed = 100000;
  hi2c1.Init.DutyCycle = I2C_DUTYCYCLE_2;
  hi2c1.Init.OwnAddress1 = 0;
  hi2c1.Init.AddressingMode = I2C_ADDRESSINGMODE_7BIT;
  hi2c1.Init.DualAddressMode = I2C_DUALADDRESS_DISABLE;
  hi2c1.Init.OwnAddress2 = 0;
  hi2c1.Init.GeneralCallMode = I2C_GENERALCALL_DISABLE;
  hi2c1.Init.NoStretchMode = I2C_NOSTRETCH_DISABLE;
  if (HAL_I2C_Init(&hi2c1) != HAL_OK)
  {
    Error_Handler();
  }

}

static void MX_I2S3_Init(void)
{

  hi2s3.Instance = SPI3;
  hi2s3.Init.Mode = I2S_MODE_MASTER_TX;
  hi2s3.Init.Standard = I2S_STANDARD_PHILIPS;
  hi2s3.Init.DataFormat = I2S_DATAFORMAT_16B;
  hi2s3.Init.MCLKOutput = I2S_MCLKOUTPUT_ENABLE;
  hi2s3.Init.AudioFreq = I2S_AUDIOFREQ_96K;
  hi2s3.Init.CPOL = I2S_CPOL_LOW;
  hi2s3.Init.ClockSource = I2S_CLOCK_PLL;
  hi2s3.Init.FullDuplexMode = I2S_FULLDUPLEXMODE_DISABLE;
  if (HAL_I2S_Init(&hi2s3) != HAL_OK)
  {
    Error_Handler();
  }

}

static void MX_SPI1_Init(void)
{

  /* SPI1 parameter configuration*/
  hspi1.Instance = SPI1;
  hspi1.Init.Mode = SPI_MODE_MASTER;
  hspi1.Init.Direction = SPI_DIRECTION_2LINES;
  hspi1.Init.DataSize = SPI_DATASIZE_8BIT;
  hspi1.Init.CLKPolarity = SPI_POLARITY_LOW;
  hspi1.Init.CLKPhase = SPI_PHASE_1EDGE;
  hspi1.Init.NSS = SPI_NSS_SOFT;
  hspi1.Init.BaudRatePrescaler = SPI_BAUDRATEPRESCALER_8;
  hspi1.Init.FirstBit = SPI_FIRSTBIT_MSB;
  hspi1.Init.TIMode = SPI_TIMODE_DISABLE;
  hspi1.Init.CRCCalculation = SPI_CRCCALCULATION_DISABLE;
  hspi1.Init.CRCPolynomial = 10;
  if (HAL_SPI_Init(&hspi1) != HAL_OK)
  {
    Error_Handler();
  }

}

static void MX_GPIO_Init(void)
{
  GPIO_InitTypeDef GPIO_InitStruct = {0};

  /* GPIO Ports Clock Enable */
  __HAL_RCC_GPIOE_CLK_ENABLE();
  __HAL_RCC_GPIOC_CLK_ENABLE();
  __HAL_RCC_GPIOH_CLK_ENABLE();
  __HAL_RCC_GPIOA_CLK_ENABLE();
  __HAL_RCC_GPIOB_CLK_ENABLE();
  __HAL_RCC_GPIOD_CLK_ENABLE();

  /*Configure GPIO pin Output Level */
  HAL_GPIO_WritePin(CS_I2C_SPI_GPIO_Port, CS_I2C_SPI_Pin, GPIO_PIN_RESET);

  /*Configure GPIO pin Output Level */
  HAL_GPIO_WritePin(OTG_FS_PowerSwitchOn_GPIO_Port, OTG_FS_PowerSwitchOn_Pin, GPIO_PIN_SET);

  /*Configure GPIO pin Output Level */
  HAL_GPIO_WritePin(GPIOC, D0_Pin|D1_Pin|D2_Pin|D3_Pin
                          |D4_Pin|D5_Pin|D6_Pin|D7_Pin, GPIO_PIN_RESET);

  /*Configure GPIO pin Output Level */
  HAL_GPIO_WritePin(GPIOB, BS0_Pin|BS1_Pin, GPIO_PIN_RESET);

  /*Configure GPIO pin Output Level */
  HAL_GPIO_WritePin(GPIOB, CS_Pin|RES_Pin, GPIO_PIN_SET);

  /*Configure GPIO pin Output Level */
  HAL_GPIO_WritePin(RD_GPIO_Port, RD_Pin, GPIO_PIN_SET);

  /*Configure GPIO pin Output Level */
  HAL_GPIO_WritePin(GPIOD, WR_Pin|RS_Pin|LD4_Pin|LD3_Pin
                          |LD5_Pin|LD6_Pin|Audio_RST_Pin, GPIO_PIN_RESET);

  /*Configure GPIO pin : CS_I2C_SPI_Pin */
  GPIO_InitStruct.Pin = CS_I2C_SPI_Pin;
  GPIO_InitStruct.Mode = GPIO_MODE_OUTPUT_PP;
  GPIO_InitStruct.Pull = GPIO_NOPULL;
  GPIO_InitStruct.Speed = GPIO_SPEED_FREQ_LOW;
  HAL_GPIO_Init(CS_I2C_SPI_GPIO_Port, &GPIO_InitStruct);

  /*Configure GPIO pins : OTG_FS_PowerSwitchOn_Pin D0_Pin D1_Pin D2_Pin
                           D3_Pin D4_Pin D5_Pin D6_Pin
                           D7_Pin */
  GPIO_InitStruct.Pin = OTG_FS_PowerSwitchOn_Pin|D0_Pin|D1_Pin|D2_Pin
                          |D3_Pin|D4_Pin|D5_Pin|D6_Pin
                          |D7_Pin;
  GPIO_InitStruct.Mode = GPIO_MODE_OUTPUT_PP;
  GPIO_InitStruct.Pull = GPIO_NOPULL;
  GPIO_InitStruct.Speed = GPIO_SPEED_FREQ_LOW;
  HAL_GPIO_Init(GPIOC, &GPIO_InitStruct);

  /*Configure GPIO pin : PDM_OUT_Pin */
  GPIO_InitStruct.Pin = PDM_OUT_Pin;
  GPIO_InitStruct.Mode = GPIO_MODE_AF_PP;
  GPIO_InitStruct.Pull = GPIO_NOPULL;
  GPIO_InitStruct.Speed = GPIO_SPEED_FREQ_LOW;
  GPIO_InitStruct.Alternate = GPIO_AF5_SPI2;
  HAL_GPIO_Init(PDM_OUT_GPIO_Port, &GPIO_InitStruct);

  /*Configure GPIO pin : B1_Pin */
  GPIO_InitStruct.Pin = B1_Pin;
  GPIO_InitStruct.Mode = GPIO_MODE_EVT_RISING;
  GPIO_InitStruct.Pull = GPIO_NOPULL;
  HAL_GPIO_Init(B1_GPIO_Port, &GPIO_InitStruct);

  /*Configure GPIO pin : BOOT1_Pin */
  GPIO_InitStruct.Pin = BOOT1_Pin;
  GPIO_InitStruct.Mode = GPIO_MODE_INPUT;
  GPIO_InitStruct.Pull = GPIO_NOPULL;
  HAL_GPIO_Init(BOOT1_GPIO_Port, &GPIO_InitStruct);

  /*Configure GPIO pin : CLK_IN_Pin */
  GPIO_InitStruct.Pin = CLK_IN_Pin;
  GPIO_InitStruct.Mode = GPIO_MODE_AF_PP;
  GPIO_InitStruct.Pull = GPIO_NOPULL;
  GPIO_InitStruct.Speed = GPIO_SPEED_FREQ_LOW;
  GPIO_InitStruct.Alternate = GPIO_AF5_SPI2;
  HAL_GPIO_Init(CLK_IN_GPIO_Port, &GPIO_InitStruct);

  /*Configure GPIO pins : BS0_Pin BS1_Pin CS_Pin RES_Pin */
  GPIO_InitStruct.Pin = BS0_Pin|BS1_Pin|CS_Pin|RES_Pin;
  GPIO_InitStruct.Mode = GPIO_MODE_OUTPUT_PP;
  GPIO_InitStruct.Pull = GPIO_NOPULL;
  GPIO_InitStruct.Speed = GPIO_SPEED_FREQ_LOW;
  HAL_GPIO_Init(GPIOB, &GPIO_InitStruct);

  /*Configure GPIO pins : RD_Pin WR_Pin RS_Pin LD4_Pin
                           LD3_Pin LD5_Pin LD6_Pin Audio_RST_Pin */
  GPIO_InitStruct.Pin = RD_Pin|WR_Pin|RS_Pin|LD4_Pin
                          |LD3_Pin|LD5_Pin|LD6_Pin|Audio_RST_Pin;
  GPIO_InitStruct.Mode = GPIO_MODE_OUTPUT_PP;
  GPIO_InitStruct.Pull = GPIO_NOPULL;
  GPIO_InitStruct.Speed = GPIO_SPEED_FREQ_LOW;
  HAL_GPIO_Init(GPIOD, &GPIO_InitStruct);

  /*Configure GPIO pin : OTG_FS_OverCurrent_Pin */
  GPIO_InitStruct.Pin = OTG_FS_OverCurrent_Pin;
  GPIO_InitStruct.Mode = GPIO_MODE_INPUT;
  GPIO_InitStruct.Pull = GPIO_NOPULL;
  HAL_GPIO_Init(OTG_FS_OverCurrent_GPIO_Port, &GPIO_InitStruct);

  /*Configure GPIO pin : MEMS_INT2_Pin */
  GPIO_InitStruct.Pin = MEMS_INT2_Pin;
  GPIO_InitStruct.Mode = GPIO_MODE_EVT_RISING;
  GPIO_InitStruct.Pull = GPIO_NOPULL;
  HAL_GPIO_Init(MEMS_INT2_GPIO_Port, &GPIO_InitStruct);

}

void Error_Handler(void)
{
  __disable_irq();
  while (1)
  {
  }
}
